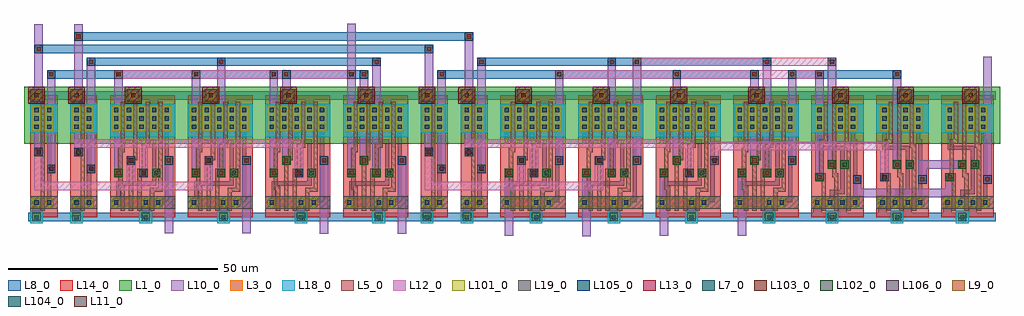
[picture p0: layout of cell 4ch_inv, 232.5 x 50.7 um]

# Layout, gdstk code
import gdstk
lib = gdstk.Library(unit=1e-6, precision=1e-07)
def R(c, l, rs):  # rectangles x0, y0, x1, y1
    for r in rs: c.add(gdstk.rectangle(r[:2], r[2:], *l))
def P(c, l, *ps):  # polygons
    for p in ps: c.add(gdstk.Polygon(p, *l))
L1_0 = (1, 0)
L3_0 = (3, 0)
L5_0 = (5, 0)
L7_0 = (7, 0)
L8_0 = (8, 0)
L9_0 = (9, 0)
L10_0 = (10, 0)
L11_0 = (11, 0)
L12_0 = (12, 0)
L13_0 = (13, 0)
L14_0 = (14, 0)
L18_0 = (18, 0)
L19_0 = (19, 0)
L101_0 = (101, 0)
L102_0 = (102, 0)
L103_0 = (103, 0)
L104_0 = (104, 0)
L105_0 = (105, 0)
L106_0 = (106, 0)

pcont = lib.new_cell('pcont')
R(pcont, L5_0, [(-1,-1,1,1)])
R(pcont, L7_0, [(-0.5,-0.5,0.5,0.5)])
R(pcont, L8_0, [(-1,-1,1,1)])
R(pcont, L102_0, [(-1,-1,1,1)])
pcont.add(gdstk.Label('pcont', (0,0), layer=13, texttype=0))

dcont = lib.new_cell('dcont')
R(dcont, L3_0, [(-1,-1,1,1)])
R(dcont, L7_0, [(-0.5,-0.5,0.5,0.5)])
R(dcont, L8_0, [(-1,-1,1,1)])
R(dcont, L13_0, [(-0.5,-0.5,0.5,0.5)])
R(dcont, L101_0, [(-1,-1,1,1)])
dcont.add(gdstk.Label('dcont', (0,0), layer=13, texttype=0))

nsubcont = lib.new_cell('nsubcont')
R(nsubcont, L1_0, [(-2,-2,2,2)])
R(nsubcont, L19_0, [(-1.5,-1.5,1.5,1.5)])
R(nsubcont, L103_0, [(-2,-2,2,2)])
nsubcont.add(gdstk.Reference(dcont, (0,0)))
nsubcont.add(gdstk.Label('NScont', (0,0), layer=13, texttype=0))

via = lib.new_cell('Via')
R(via, L8_0, [(-1,-1,1,1)])
R(via, L9_0, [(-0.5,-0.5,0.5,0.5)])
R(via, L10_0, [(-1,-1,1,1)])
R(via, L13_0, [(-0.5,-0.5,0.5,0.5)])
R(via, L105_0, [(-1,-1,1,1)])
via.add(gdstk.Label('via', (0,0), layer=13, texttype=0))

psubcont = lib.new_cell('psubcont')
R(psubcont, L18_0, [(-1.5,-1.5,1.5,1.5)])
R(psubcont, L104_0, [(-1,-1,1,1)])
psubcont.add(gdstk.Reference(dcont, (0,0)))
psubcont.add(gdstk.Label('PScon', (0,0), layer=13, texttype=0))

inv1 = lib.new_cell('inv1')
R(inv1, L1_0, [(-1.5,17.5,8,31)])
R(inv1, L3_0, [(0.5,2.5,5.5,4.5), (0.5,20.5,5.5,26.5)])
R(inv1, L8_0, [(-0.5,-1,7,1), (4,10.5,6,12.5), (1,14.5,3,16.5), (-0.5,28,7,30)])
R(inv1, L10_0, [(4,10.5,6,12.5), (1,14.5,3,16.5)])
R(inv1, L14_0, [(0,0,6.5,29)])
R(inv1, L18_0, [(0,20,6.5,27)])
R(inv1, L19_0, [(0,2,6.5,5)])
R(inv1, L105_0, [(4,10.5,6,12.5), (1,14.5,3,16.5)])
inv1.add(gdstk.FlexPath([(4.5,20.5),(4.5,3.8)], 1, ends="extended", simple_path=True, layer=8, datatype=0))  # L8_0
inv1.add(gdstk.FlexPath([(4.5,22.3),(4.5,25.5)], 1.4, ends="extended", simple_path=True, layer=8, datatype=0))  # L8_0
inv1.add(gdstk.FlexPath([(1.5,1),(1.5,3.5)], 2, ends="extended", simple_path=True, layer=8, datatype=0))  # L8_0
inv1.add(gdstk.FlexPath([(1.5,21.5),(1.5,28.5)], 2, ends="extended", simple_path=True, layer=8, datatype=0))  # L8_0
inv1.add(gdstk.FlexPath([(3,27),(3,2)], 1, ends="extended", simple_path=True, layer=5, datatype=0))  # L5_0
inv1.add(gdstk.Reference(pcont, (2,15.5)))
inv1.add(gdstk.Reference(dcont, (4.5,21.5)))
inv1.add(gdstk.Reference(dcont, (1.5,21.5)))
inv1.add(gdstk.Reference(nsubcont, (1.5,29)))
inv1.add(gdstk.Reference(via, (2,15.5)))
inv1.add(gdstk.Reference(dcont, (4.5,3.5)))
inv1.add(gdstk.Reference(dcont, (1.5,3.5)))
inv1.add(gdstk.Reference(dcont, (1.5,23.5)))
inv1.add(gdstk.Reference(psubcont, (1.5,0)))
inv1.add(gdstk.Reference(dcont, (4.5,25.5)))
inv1.add(gdstk.Reference(dcont, (1.5,25.5)))
inv1.add(gdstk.Reference(via, (5,11.5)))
inv1.add(gdstk.Reference(dcont, (4.5,23.5)))
inv1.add(gdstk.Label('VSS', (3,0), layer=8, texttype=0))
inv1.add(gdstk.Label('VDD', (0.3,28.5), layer=8, texttype=0))
inv1.add(gdstk.Label('VDD', (4,29), layer=8, texttype=0))
inv1.add(gdstk.Label('via', (5,11.5), layer=13, texttype=0))
inv1.add(gdstk.Label('via', (2,15.5), layer=13, texttype=0))
inv1.add(gdstk.Label('X', (5,11.5), layer=10, texttype=0))
inv1.add(gdstk.Label('A', (2,15.5), layer=10, texttype=0))

an31 = lib.new_cell('an31')
R(an31, L1_0, [(-1.5,17.5,17,31)])
R(an31, L3_0, [(0.5,2.5,12.5,4.5), (0.5,20.5,14.5,26.5)])
R(an31, L8_0, [(-0.5,-1,16,1), (1,9.5,3,11.5), (7,9.5,9,11.5), (4,12.5,6,14.5), (13,12.5,15,14.5), (-0.5,28,16,30)])
R(an31, L10_0, [(1,9.5,3,11.5), (7,9.5,9,11.5), (4,12.5,6,14.5), (13,12.5,15,14.5)])
R(an31, L14_0, [(0,0,15.5,29)])
R(an31, L18_0, [(0,19,15.5,27)])
R(an31, L19_0, [(0,2,15.5,5)])
R(an31, L105_0, [(1,9.5,3,11.5), (7,9.5,9,11.5), (4,12.5,6,14.5), (13,12.5,15,14.5)])
an31.add(gdstk.FlexPath([(13.5,25.5),(13.5,4),(11.5,4),(11.5,3.8)], 1, ends="extended", simple_path=True, layer=8, datatype=0))  # L8_0
an31.add(gdstk.FlexPath([(13.5,22.3),(13.5,25.5)], 1.4, ends="extended", simple_path=True, layer=8, datatype=0))  # L8_0
an31.add(gdstk.FlexPath([(10.5,22.3),(10.5,25.5)], 1.4, ends="extended", simple_path=True, layer=8, datatype=0))  # L8_0
an31.add(gdstk.FlexPath([(10.5,21.5),(10.5,28.5)], 2, ends="extended", simple_path=True, layer=8, datatype=0))  # L8_0
an31.add(gdstk.FlexPath([(8.5,0),(8.5,3.5)], 2, ends="extended", simple_path=True, layer=8, datatype=0))  # L8_0
an31.add(gdstk.FlexPath([(7.5,22.3),(7.5,25.5)], 1.4, ends="extended", simple_path=True, layer=8, datatype=0))  # L8_0
an31.add(gdstk.FlexPath([(7.5,21.5),(7.5,18)], 1, ends="extended", simple_path=True, layer=8, datatype=0))  # L8_0
an31.add(gdstk.FlexPath([(1.5,21.5),(1.5,18),(10.5,18),(10.5,8),(2,8),(2,3.8)], 1, ends="extended", simple_path=True, layer=8, datatype=0))  # L8_0
an31.add(gdstk.FlexPath([(4.5,21.5),(4.5,28.5)], 2, ends="extended", simple_path=True, layer=8, datatype=0))  # L8_0
an31.add(gdstk.FlexPath([(1.5,22.3),(1.5,25.5)], 1.4, ends="extended", simple_path=True, layer=8, datatype=0))  # L8_0
an31.add(gdstk.FlexPath([(12,27),(12,6.5),(10,6.5),(10,2)], 1, ends="extended", simple_path=True, layer=5, datatype=0))  # L5_0
an31.add(gdstk.FlexPath([(9,27),(9,17),(8,17),(8,11),(7,11),(7,2)], 1, ends="extended", simple_path=True, layer=5, datatype=0))  # L5_0
an31.add(gdstk.FlexPath([(6,27),(6,14),(5,14),(5,2)], 1, ends="extended", simple_path=True, layer=5, datatype=0))  # L5_0
an31.add(gdstk.FlexPath([(3,27),(3,16),(2.5,16),(2.5,7),(3,7),(3,2)], 1, ends="extended", simple_path=True, layer=5, datatype=0))  # L5_0
an31.add(gdstk.Reference(dcont, (10.5,21.5)))
an31.add(gdstk.Reference(dcont, (10.5,25.5)))
an31.add(gdstk.Reference(dcont, (7.5,25.5)))
an31.add(gdstk.Reference(dcont, (11.5,3.5)))
an31.add(gdstk.Reference(nsubcont, (5.5,29)))
an31.add(gdstk.Reference(dcont, (13.5,25.5)))
an31.add(gdstk.Reference(dcont, (1.5,25.5)))
an31.add(gdstk.Reference(dcont, (8.5,3.5)))
an31.add(gdstk.Reference(via, (5,13.5)))
an31.add(gdstk.Reference(dcont, (1.5,21.5)))
an31.add(gdstk.Reference(via, (2,10.5)))
an31.add(gdstk.Reference(dcont, (7.5,21.5)))
an31.add(gdstk.Reference(dcont, (13.5,23.5)))
an31.add(gdstk.Reference(dcont, (4.5,23.5)))
an31.add(gdstk.Reference(pcont, (2,10.5)))
an31.add(gdstk.Reference(dcont, (1.5,3.5)))
an31.add(gdstk.Reference(via, (14,13.5)))
an31.add(gdstk.Reference(dcont, (13.5,21.5)))
an31.add(gdstk.Reference(dcont, (10.5,23.5)))
an31.add(gdstk.Reference(psubcont, (8.5,0)))
an31.add(gdstk.Reference(pcont, (8,10.5)))
an31.add(gdstk.Reference(dcont, (7.5,23.5)))
an31.add(gdstk.Reference(dcont, (4.5,21.5)))
an31.add(gdstk.Reference(via, (8,10.5)))
an31.add(gdstk.Reference(pcont, (11,10.5)))
an31.add(gdstk.Reference(pcont, (5,13.5)))
an31.add(gdstk.Reference(dcont, (1.5,23.5)))
an31.add(gdstk.Reference(dcont, (4.5,25.5)))
an31.add(gdstk.Label('VDD', (0.5,29), layer=8, texttype=0))
an31.add(gdstk.Label('VSS', (0.5,0), layer=8, texttype=0))
an31.add(gdstk.Label('via', (14,13), layer=13, texttype=0))
an31.add(gdstk.Label('via', (5,13), layer=13, texttype=0))
an31.add(gdstk.Label('via', (2,10), layer=13, texttype=0))
an31.add(gdstk.Label('via', (8,10), layer=13, texttype=0))
an31.add(gdstk.Label('Y', (14,13.5), layer=10, texttype=0))
an31.add(gdstk.Label('C', (8,10.5), layer=10, texttype=0))
an31.add(gdstk.Label('B', (5,13.5), layer=10, texttype=0))
an31.add(gdstk.Label('A', (2,10.5), layer=10, texttype=0))

via2 = lib.new_cell('Via2')
R(via2, L10_0, [(-1,-1,1,1)])
R(via2, L11_0, [(-0.5,-0.5,0.5,0.5)])
P(via2, L11_0, [(-1,0),(-1,0),(-1,0),(-1,0)],
  [(1,1),(1,1),(1,1),(1,1)])
R(via2, L12_0, [(-1,-1,1,1)])
R(via2, L13_0, [(-0.5,-0.5,0.5,0.5)])
R(via2, L106_0, [(-1,-1,1,1)])

via_1 = lib.new_cell('Via$1')
R(via_1, L8_0, [(-1,-1,1,1)])
R(via_1, L9_0, [(-0.5,-0.5,0.5,0.5)])
R(via_1, L10_0, [(-1,-1,1,1)])
R(via_1, L13_0, [(-0.5,-0.5,0.5,0.5)])
R(via_1, L105_0, [(-1,-1,1,1)])

c_4ch_demux = lib.new_cell('4ch_demux')
R(c_4ch_demux, L8_0, [(-0.5,-1,90.5,1), (-0.5,28,90.5,30)])
c_4ch_demux.add(gdstk.FlexPath([(4,34),(80.5,34)], 2, ends="flush", simple_path=True, layer=8, datatype=0))  # L8_0
c_4ch_demux.add(gdstk.FlexPath([(13.5,37),(83.5,37)], 2, ends="flush", simple_path=True, layer=8, datatype=0))  # L8_0
c_4ch_demux.add(gdstk.FlexPath([(2,15.5),(2,46)], 2, ends="flush", simple_path=True, layer=10, datatype=0))  # L10_0
c_4ch_demux.add(gdstk.FlexPath([(11.5,14.5),(11.5,46)], 2, ends="flush", simple_path=True, layer=10, datatype=0))  # L10_0
c_4ch_demux.add(gdstk.FlexPath([(76.5,33),(76.5,46.1)], 2, ends="flush", simple_path=True, layer=10, datatype=0))  # L10_0
c_4ch_demux.add(gdstk.FlexPath([(21,9.5),(21,35)], 2, ends="flush", simple_path=True, layer=10, datatype=0))  # L10_0
c_4ch_demux.add(gdstk.FlexPath([(39.5,9.5),(39.5,35)], 2, ends="flush", simple_path=True, layer=10, datatype=0))  # L10_0
c_4ch_demux.add(gdstk.FlexPath([(58,9.5),(58,35)], 2, ends="flush", simple_path=True, layer=10, datatype=0))  # L10_0
c_4ch_demux.add(gdstk.FlexPath([(76.5,9.5),(76.5,35)], 2, ends="flush", simple_path=True, layer=10, datatype=0))  # L10_0
c_4ch_demux.add(gdstk.FlexPath([(33,14.5),(33,-3.9)], 2, ends="flush", simple_path=True, layer=10, datatype=0))  # L10_0
c_4ch_demux.add(gdstk.FlexPath([(51.5,14.5),(51.5,-3.9)], 2, ends="flush", simple_path=True, layer=10, datatype=0))  # L10_0
c_4ch_demux.add(gdstk.FlexPath([(70,14.5),(70,-4)], 2, ends="flush", simple_path=True, layer=10, datatype=0))  # L10_0
c_4ch_demux.add(gdstk.FlexPath([(88.5,14.5),(88.5,-4)], 2, ends="flush", simple_path=True, layer=10, datatype=0))  # L10_0
c_4ch_demux.add(gdstk.FlexPath([(45.5,9.5),(45.5,38)], 2, ends="flush", simple_path=True, layer=10, datatype=0))  # L10_0
c_4ch_demux.add(gdstk.FlexPath([(5,10.5),(5,35)], 2, ends="flush", simple_path=True, layer=10, datatype=0))  # L10_0
c_4ch_demux.add(gdstk.FlexPath([(14.5,10.5),(14.5,38)], 2, ends="flush", simple_path=True, layer=10, datatype=0))  # L10_0
c_4ch_demux.add(gdstk.FlexPath([(61,12.5),(61,35)], 2, ends="flush", simple_path=True, layer=10, datatype=0))  # L10_0
c_4ch_demux.add(gdstk.FlexPath([(79.5,12.5),(79.5,35)], 2, ends="flush", simple_path=True, layer=10, datatype=0))  # L10_0
c_4ch_demux.add(gdstk.FlexPath([(82.5,9.5),(82.5,38)], 2, ends="flush", simple_path=True, layer=10, datatype=0))  # L10_0
c_4ch_demux.add(gdstk.FlexPath([(77.5,34),(20,34)], 2, ends="flush", simple_path=True, layer=12, datatype=0))  # L12_0
c_4ch_demux.add(gdstk.FlexPath([(2,16.5),(2,7.4),(42.5,7.4),(42.5,14.5)], 2, ends="flush", simple_path=True, layer=12, datatype=0))  # L12_0
c_4ch_demux.add(gdstk.FlexPath([(24,14.5),(24,6.4)], 2, ends="flush", simple_path=True, layer=12, datatype=0))  # L12_0
c_4ch_demux.add(gdstk.FlexPath([(11.5,14.5),(11.5,17.5),(27,17.5),(27,9.5)], 2, ends="flush", simple_path=True, layer=12, datatype=0))  # L12_0
c_4ch_demux.add(gdstk.FlexPath([(27,17.5),(64,17.5),(64,9.5)], 2, ends="flush", simple_path=True, layer=12, datatype=0))  # L12_0
c_4ch_demux.add(gdstk.Reference(inv1, (0,0)))
c_4ch_demux.add(gdstk.Reference(inv1, (9.5,0)))
c_4ch_demux.add(gdstk.Reference(an31, (19,0)))
c_4ch_demux.add(gdstk.Reference(an31, (74.5,0)))
c_4ch_demux.add(gdstk.Reference(an31, (56,0)))
c_4ch_demux.add(gdstk.Reference(an31, (37.5,0)))
c_4ch_demux.add(gdstk.Reference(via2, (21,34)))
c_4ch_demux.add(gdstk.Reference(via2, (39.5,34)))
c_4ch_demux.add(gdstk.Reference(via2, (58,34)))
c_4ch_demux.add(gdstk.Reference(via2, (2,15.5)))
c_4ch_demux.add(gdstk.Reference(via2, (24,13.5)))
c_4ch_demux.add(gdstk.Reference(via2, (42.5,13.5)))
c_4ch_demux.add(gdstk.Reference(via2, (5,11.5)))
c_4ch_demux.add(gdstk.Reference(via2, (14.5,11.5)))
c_4ch_demux.add(gdstk.Reference(via2, (11.5,15.5)))
c_4ch_demux.add(gdstk.Reference(via2, (27,10.5)))
c_4ch_demux.add(gdstk.Reference(via2, (64,10.5)))
c_4ch_demux.add(gdstk.Reference(via_1, (5,34)))
c_4ch_demux.add(gdstk.Reference(via_1, (61,34)))
c_4ch_demux.add(gdstk.Reference(via_1, (79.5,34)))
c_4ch_demux.add(gdstk.Reference(via_1, (14.5,37)))
c_4ch_demux.add(gdstk.Reference(via_1, (45.5,37)))
c_4ch_demux.add(gdstk.Reference(via_1, (82.5,37)))
c_4ch_demux.add(gdstk.Reference(via2, (76.5,34)))
c_4ch_demux.add(gdstk.Label('Y', (76.2,39.3), layer=10, texttype=0))
c_4ch_demux.add(gdstk.Label('O0', (88.2,-3.6), layer=10, texttype=0))
c_4ch_demux.add(gdstk.Label('O1', (69.6,-3.6), layer=10, texttype=0))
c_4ch_demux.add(gdstk.Label('O2', (51.2,-3.5), layer=10, texttype=0))
c_4ch_demux.add(gdstk.Label('O3', (32.7,-3.6), layer=10, texttype=0))
c_4ch_demux.add(gdstk.Label('S0', (1.6,38.6), layer=10, texttype=0))
c_4ch_demux.add(gdstk.Label('S1', (10.9,38.7), layer=10, texttype=0))

pcont_1 = lib.new_cell('pcont$1')
R(pcont_1, L5_0, [(-1,-1,1,1)])
R(pcont_1, L7_0, [(-0.5,-0.5,0.5,0.5)])
R(pcont_1, L8_0, [(-1,-1,1,1)])
R(pcont_1, L102_0, [(-1,-1,1,1)])
pcont_1.add(gdstk.Label('pcont', (0,0), layer=13, texttype=0))

dcont_1 = lib.new_cell('dcont$1')
R(dcont_1, L3_0, [(-1,-1,1,1)])
R(dcont_1, L7_0, [(-0.5,-0.5,0.5,0.5)])
R(dcont_1, L8_0, [(-1,-1,1,1)])
R(dcont_1, L13_0, [(-0.5,-0.5,0.5,0.5)])
R(dcont_1, L101_0, [(-1,-1,1,1)])
dcont_1.add(gdstk.Label('dcont', (0,0), layer=13, texttype=0))

nsubcont_1 = lib.new_cell('nsubcont$1')
R(nsubcont_1, L1_0, [(-2,-2,2,2)])
R(nsubcont_1, L19_0, [(-1.5,-1.5,1.5,1.5)])
R(nsubcont_1, L103_0, [(-2,-2,2,2)])
nsubcont_1.add(gdstk.Reference(dcont_1, (0,0)))
nsubcont_1.add(gdstk.Label('NScont', (0,0), layer=13, texttype=0))

via_2 = lib.new_cell('Via$2')
R(via_2, L8_0, [(-1,-1,1,1)])
R(via_2, L9_0, [(-0.5,-0.5,0.5,0.5)])
R(via_2, L10_0, [(-1,-1,1,1)])
R(via_2, L13_0, [(-0.5,-0.5,0.5,0.5)])
R(via_2, L105_0, [(-1,-1,1,1)])
via_2.add(gdstk.Label('via', (0,0), layer=13, texttype=0))

psubcont_1 = lib.new_cell('psubcont$1')
R(psubcont_1, L18_0, [(-1.5,-1.5,1.5,1.5)])
R(psubcont_1, L104_0, [(-1,-1,1,1)])
psubcont_1.add(gdstk.Reference(dcont_1, (0,0)))
psubcont_1.add(gdstk.Label('PScon', (0,0), layer=13, texttype=0))

inv1_1 = lib.new_cell('inv1$1')
R(inv1_1, L1_0, [(-1.5,17.5,8,31)])
R(inv1_1, L3_0, [(0.5,2.5,5.5,4.5), (0.5,20.5,5.5,26.5)])
R(inv1_1, L8_0, [(-0.5,-1,7,1), (4,10.5,6,12.5), (1,14.5,3,16.5), (-0.5,28,7,30)])
R(inv1_1, L10_0, [(4,10.5,6,12.5), (1,14.5,3,16.5)])
R(inv1_1, L14_0, [(0,0,6.5,29)])
R(inv1_1, L18_0, [(0,20,6.5,27)])
R(inv1_1, L19_0, [(0,2,6.5,5)])
R(inv1_1, L105_0, [(4,10.5,6,12.5), (1,14.5,3,16.5)])
inv1_1.add(gdstk.FlexPath([(4.5,20.5),(4.5,3.8)], 1, ends="extended", simple_path=True, layer=8, datatype=0))  # L8_0
inv1_1.add(gdstk.FlexPath([(4.5,22.3),(4.5,25.5)], 1.4, ends="extended", simple_path=True, layer=8, datatype=0))  # L8_0
inv1_1.add(gdstk.FlexPath([(1.5,1),(1.5,3.5)], 2, ends="extended", simple_path=True, layer=8, datatype=0))  # L8_0
inv1_1.add(gdstk.FlexPath([(1.5,21.5),(1.5,28.5)], 2, ends="extended", simple_path=True, layer=8, datatype=0))  # L8_0
inv1_1.add(gdstk.FlexPath([(3,27),(3,2)], 1, ends="extended", simple_path=True, layer=5, datatype=0))  # L5_0
inv1_1.add(gdstk.Reference(pcont_1, (2,15.5)))
inv1_1.add(gdstk.Reference(dcont_1, (4.5,21.5)))
inv1_1.add(gdstk.Reference(dcont_1, (1.5,21.5)))
inv1_1.add(gdstk.Reference(nsubcont_1, (1.5,29)))
inv1_1.add(gdstk.Reference(via_2, (2,15.5)))
inv1_1.add(gdstk.Reference(dcont_1, (4.5,3.5)))
inv1_1.add(gdstk.Reference(dcont_1, (1.5,3.5)))
inv1_1.add(gdstk.Reference(dcont_1, (1.5,23.5)))
inv1_1.add(gdstk.Reference(psubcont_1, (1.5,0)))
inv1_1.add(gdstk.Reference(dcont_1, (4.5,25.5)))
inv1_1.add(gdstk.Reference(dcont_1, (1.5,25.5)))
inv1_1.add(gdstk.Reference(via_2, (5,11.5)))
inv1_1.add(gdstk.Reference(dcont_1, (4.5,23.5)))
inv1_1.add(gdstk.Label('VSS', (3,0), layer=8, texttype=0))
inv1_1.add(gdstk.Label('VDD', (0.3,28.5), layer=8, texttype=0))
inv1_1.add(gdstk.Label('VDD', (4,29), layer=8, texttype=0))
inv1_1.add(gdstk.Label('via', (5,11.5), layer=13, texttype=0))
inv1_1.add(gdstk.Label('via', (2,15.5), layer=13, texttype=0))
inv1_1.add(gdstk.Label('X', (5,11.5), layer=10, texttype=0))
inv1_1.add(gdstk.Label('A', (2,15.5), layer=10, texttype=0))

an31_1 = lib.new_cell('an31$1')
R(an31_1, L1_0, [(-1.5,17.5,17,31)])
R(an31_1, L3_0, [(0.5,2.5,12.5,4.5), (0.5,20.5,14.5,26.5)])
R(an31_1, L8_0, [(-0.5,-1,16,1), (1,9.5,3,11.5), (7,9.5,9,11.5), (4,12.5,6,14.5), (13,12.5,15,14.5), (-0.5,28,16,30)])
R(an31_1, L10_0, [(1,9.5,3,11.5), (7,9.5,9,11.5), (4,12.5,6,14.5), (13,12.5,15,14.5)])
R(an31_1, L14_0, [(0,0,15.5,29)])
R(an31_1, L18_0, [(0,19,15.5,27)])
R(an31_1, L19_0, [(0,2,15.5,5)])
R(an31_1, L105_0, [(1,9.5,3,11.5), (7,9.5,9,11.5), (4,12.5,6,14.5), (13,12.5,15,14.5)])
an31_1.add(gdstk.FlexPath([(13.5,25.5),(13.5,4),(11.5,4),(11.5,3.8)], 1, ends="extended", simple_path=True, layer=8, datatype=0))  # L8_0
an31_1.add(gdstk.FlexPath([(13.5,22.3),(13.5,25.5)], 1.4, ends="extended", simple_path=True, layer=8, datatype=0))  # L8_0
an31_1.add(gdstk.FlexPath([(10.5,22.3),(10.5,25.5)], 1.4, ends="extended", simple_path=True, layer=8, datatype=0))  # L8_0
an31_1.add(gdstk.FlexPath([(10.5,21.5),(10.5,28.5)], 2, ends="extended", simple_path=True, layer=8, datatype=0))  # L8_0
an31_1.add(gdstk.FlexPath([(8.5,0),(8.5,3.5)], 2, ends="extended", simple_path=True, layer=8, datatype=0))  # L8_0
an31_1.add(gdstk.FlexPath([(7.5,22.3),(7.5,25.5)], 1.4, ends="extended", simple_path=True, layer=8, datatype=0))  # L8_0
an31_1.add(gdstk.FlexPath([(7.5,21.5),(7.5,18)], 1, ends="extended", simple_path=True, layer=8, datatype=0))  # L8_0
an31_1.add(gdstk.FlexPath([(1.5,21.5),(1.5,18),(10.5,18),(10.5,8),(2,8),(2,3.8)], 1, ends="extended", simple_path=True, layer=8, datatype=0))  # L8_0
an31_1.add(gdstk.FlexPath([(4.5,21.5),(4.5,28.5)], 2, ends="extended", simple_path=True, layer=8, datatype=0))  # L8_0
an31_1.add(gdstk.FlexPath([(1.5,22.3),(1.5,25.5)], 1.4, ends="extended", simple_path=True, layer=8, datatype=0))  # L8_0
an31_1.add(gdstk.FlexPath([(12,27),(12,6.5),(10,6.5),(10,2)], 1, ends="extended", simple_path=True, layer=5, datatype=0))  # L5_0
an31_1.add(gdstk.FlexPath([(9,27),(9,17),(8,17),(8,11),(7,11),(7,2)], 1, ends="extended", simple_path=True, layer=5, datatype=0))  # L5_0
an31_1.add(gdstk.FlexPath([(6,27),(6,14),(5,14),(5,2)], 1, ends="extended", simple_path=True, layer=5, datatype=0))  # L5_0
an31_1.add(gdstk.FlexPath([(3,27),(3,16),(2.5,16),(2.5,7),(3,7),(3,2)], 1, ends="extended", simple_path=True, layer=5, datatype=0))  # L5_0
an31_1.add(gdstk.Reference(dcont_1, (10.5,21.5)))
an31_1.add(gdstk.Reference(dcont_1, (10.5,25.5)))
an31_1.add(gdstk.Reference(dcont_1, (7.5,25.5)))
an31_1.add(gdstk.Reference(dcont_1, (11.5,3.5)))
an31_1.add(gdstk.Reference(nsubcont_1, (5.5,29)))
an31_1.add(gdstk.Reference(dcont_1, (13.5,25.5)))
an31_1.add(gdstk.Reference(dcont_1, (1.5,25.5)))
an31_1.add(gdstk.Reference(dcont_1, (8.5,3.5)))
an31_1.add(gdstk.Reference(via_2, (5,13.5)))
an31_1.add(gdstk.Reference(dcont_1, (1.5,21.5)))
an31_1.add(gdstk.Reference(via_2, (2,10.5)))
an31_1.add(gdstk.Reference(dcont_1, (7.5,21.5)))
an31_1.add(gdstk.Reference(dcont_1, (13.5,23.5)))
an31_1.add(gdstk.Reference(dcont_1, (4.5,23.5)))
an31_1.add(gdstk.Reference(pcont_1, (2,10.5)))
an31_1.add(gdstk.Reference(dcont_1, (1.5,3.5)))
an31_1.add(gdstk.Reference(via_2, (14,13.5)))
an31_1.add(gdstk.Reference(dcont_1, (13.5,21.5)))
an31_1.add(gdstk.Reference(dcont_1, (10.5,23.5)))
an31_1.add(gdstk.Reference(psubcont_1, (8.5,0)))
an31_1.add(gdstk.Reference(pcont_1, (8,10.5)))
an31_1.add(gdstk.Reference(dcont_1, (7.5,23.5)))
an31_1.add(gdstk.Reference(dcont_1, (4.5,21.5)))
an31_1.add(gdstk.Reference(via_2, (8,10.5)))
an31_1.add(gdstk.Reference(pcont_1, (11,10.5)))
an31_1.add(gdstk.Reference(pcont_1, (5,13.5)))
an31_1.add(gdstk.Reference(dcont_1, (1.5,23.5)))
an31_1.add(gdstk.Reference(dcont_1, (4.5,25.5)))
an31_1.add(gdstk.Label('VDD', (0.5,29), layer=8, texttype=0))
an31_1.add(gdstk.Label('VSS', (0.5,0), layer=8, texttype=0))
an31_1.add(gdstk.Label('via', (14,13), layer=13, texttype=0))
an31_1.add(gdstk.Label('via', (5,13), layer=13, texttype=0))
an31_1.add(gdstk.Label('via', (2,10), layer=13, texttype=0))
an31_1.add(gdstk.Label('via', (8,10), layer=13, texttype=0))
an31_1.add(gdstk.Label('Y', (14,13.5), layer=10, texttype=0))
an31_1.add(gdstk.Label('C', (8,10.5), layer=10, texttype=0))
an31_1.add(gdstk.Label('B', (5,13.5), layer=10, texttype=0))
an31_1.add(gdstk.Label('A', (2,10.5), layer=10, texttype=0))

or21 = lib.new_cell('or21')
R(or21, L1_0, [(-1.5,17.5,14,31)])
R(or21, L3_0, [(0.5,2.5,11.5,4.5), (6.5,2.5,11.5,4.5), (1,20.5,11,26.5)])
R(or21, L8_0, [(-0.5,-1,13,1), (10,8,12,10), (1,8.5,3,10.5), (4,11.5,6,13.5), (-0.5,28,13,30)])
R(or21, L10_0, [(10,8,12,10), (1,8.5,3,10.5), (4,11.5,6,13.5)])
R(or21, L14_0, [(0,0,12.5,29)])
R(or21, L18_0, [(0,20,12.5,27)])
R(or21, L19_0, [(0,2,12.5,5)])
R(or21, L105_0, [(10,8,12,10), (1,8.5,3,10.5), (4,11.5,6,13.5)])
or21.add(gdstk.FlexPath([(10.5,3.5),(10.5,18),(10,18),(10,20.5)], 1, ends="extended", simple_path=True, layer=8, datatype=0))  # L8_0
or21.add(gdstk.FlexPath([(10,22.3),(10,25.5)], 1.4, ends="extended", simple_path=True, layer=8, datatype=0))  # L8_0
or21.add(gdstk.FlexPath([(7.5,1),(7.5,3.5)], 2, ends="extended", simple_path=True, layer=8, datatype=0))  # L8_0
or21.add(gdstk.FlexPath([(7,21.5),(7,28.5)], 2, ends="extended", simple_path=True, layer=8, datatype=0))  # L8_0
or21.add(gdstk.FlexPath([(5,3.5),(5,6),(7.5,6),(7.5,16.5),(2,16.5),(2,20.5)], 1, ends="extended", simple_path=True, layer=8, datatype=0))  # L8_0
or21.add(gdstk.FlexPath([(2,22.3),(2,25.5)], 1.4, ends="extended", simple_path=True, layer=8, datatype=0))  # L8_0
or21.add(gdstk.FlexPath([(1.5,1),(1.5,3.5)], 2, ends="extended", simple_path=True, layer=8, datatype=0))  # L8_0
or21.add(gdstk.FlexPath([(9,2),(9,17),(8.5,17),(8.5,27)], 1, ends="extended", simple_path=True, layer=5, datatype=0))  # L5_0
or21.add(gdstk.FlexPath([(3.5,27),(3.5,18),(2.5,18),(2.5,10),(3,10),(3,2)], 1, ends="extended", simple_path=True, layer=5, datatype=0))  # L5_0
or21.add(gdstk.FlexPath([(5.5,27),(5.5,10),(6,10),(6,2)], 1, ends="extended", simple_path=True, layer=5, datatype=0))  # L5_0
or21.add(gdstk.Reference(nsubcont_1, (7,29)))
or21.add(gdstk.Reference(dcont_1, (10,25.5)))
or21.add(gdstk.Reference(dcont_1, (7,25.5)))
or21.add(gdstk.Reference(pcont_1, (5,12.5)))
or21.add(gdstk.Reference(via_2, (5,12.5)))
or21.add(gdstk.Reference(psubcont_1, (5,0)))
or21.add(gdstk.Reference(dcont_1, (2,25.5)))
or21.add(gdstk.Reference(dcont_1, (10,21.5)))
or21.add(gdstk.Reference(dcont_1, (2,23.5)))
or21.add(gdstk.Reference(dcont_1, (10,23.5)))
or21.add(gdstk.Reference(pcont_1, (2,9.5)))
or21.add(gdstk.Reference(dcont_1, (4.5,3.5)))
or21.add(gdstk.Reference(dcont_1, (2,21.5)))
or21.add(gdstk.Reference(pcont_1, (8,12.5)))
or21.add(gdstk.Reference(dcont_1, (10.5,3.5)))
or21.add(gdstk.Reference(via_2, (2,9.5)))
or21.add(gdstk.Reference(dcont_1, (7.5,3.5)))
or21.add(gdstk.Reference(dcont_1, (7,21.5)))
or21.add(gdstk.Reference(via_2, (11,9)))
or21.add(gdstk.Reference(dcont_1, (1.5,3.5)))
or21.add(gdstk.Reference(dcont_1, (7,23.5)))
or21.add(gdstk.Label('VSS', (0.5,0), layer=8, texttype=0))
or21.add(gdstk.Label('VDD', (0.5,29), layer=8, texttype=0))
or21.add(gdstk.Label('via', (2,9.5), layer=13, texttype=0))
or21.add(gdstk.Label('via', (5,12.5), layer=13, texttype=0))
or21.add(gdstk.Label('via', (11,9), layer=13, texttype=0))
or21.add(gdstk.Label('A', (2,9.5), layer=10, texttype=0))
or21.add(gdstk.Label('B', (5,12.5), layer=10, texttype=0))
or21.add(gdstk.Label('X', (11,9), layer=10, texttype=0))

via2_1 = lib.new_cell('Via2$1')
R(via2_1, L10_0, [(-1,-1,1,1)])
R(via2_1, L11_0, [(-0.5,-0.5,0.5,0.5)])
P(via2_1, L11_0, [(-1,0),(-1,0),(-1,0),(-1,0)],
  [(1,1),(1,1),(1,1),(1,1)])
R(via2_1, L12_0, [(-1,-1,1,1)])
R(via2_1, L13_0, [(-0.5,-0.5,0.5,0.5)])
R(via2_1, L106_0, [(-1,-1,1,1)])

via_1_1 = lib.new_cell('Via$1$1')
R(via_1_1, L8_0, [(-1,-1,1,1)])
R(via_1_1, L9_0, [(-0.5,-0.5,0.5,0.5)])
R(via_1_1, L10_0, [(-1,-1,1,1)])
R(via_1_1, L13_0, [(-0.5,-0.5,0.5,0.5)])
R(via_1_1, L105_0, [(-1,-1,1,1)])

c_4ch_mux = lib.new_cell('4ch_mux')
R(c_4ch_mux, L8_0, [(-0.5,-1,137,1), (-0.5,28,137,30)])
c_4ch_mux.add(gdstk.FlexPath([(4,34),(80.5,34)], 2, ends="flush", simple_path=True, layer=8, datatype=0))  # L8_0
c_4ch_mux.add(gdstk.FlexPath([(13.5,37),(83.5,37)], 2, ends="flush", simple_path=True, layer=8, datatype=0))  # L8_0
c_4ch_mux.add(gdstk.FlexPath([(87.5,34),(114.5,34)], 2, ends="flush", simple_path=True, layer=8, datatype=0))  # L8_0
c_4ch_mux.add(gdstk.FlexPath([(2,14.5),(2,41)], 2, ends="flush", simple_path=True, layer=10, datatype=0))  # L10_0
c_4ch_mux.add(gdstk.FlexPath([(11.5,14.5),(11.5,44)], 2, ends="flush", simple_path=True, layer=10, datatype=0))  # L10_0
c_4ch_mux.add(gdstk.FlexPath([(130,12.5),(119.5,12.5),(119.5,8)], 2, ends="flush", simple_path=True, layer=10, datatype=0))  # L10_0
c_4ch_mux.add(gdstk.FlexPath([(126,10.5),(126,5.7),(104,5.7),(104,10)], 2, ends="flush", simple_path=True, layer=10, datatype=0))  # L10_0
c_4ch_mux.add(gdstk.FlexPath([(21,11.5),(21,-4.4)], 2, ends="flush", simple_path=True, layer=10, datatype=0))  # L10_0
c_4ch_mux.add(gdstk.FlexPath([(39.5,11.5),(39.5,-4.6)], 2, ends="flush", simple_path=True, layer=10, datatype=0))  # L10_0
c_4ch_mux.add(gdstk.FlexPath([(58,11.5),(58,-4.4)], 2, ends="flush", simple_path=True, layer=10, datatype=0))  # L10_0
c_4ch_mux.add(gdstk.FlexPath([(76.5,11.5),(76.5,-4.4)], 2, ends="flush", simple_path=True, layer=10, datatype=0))  # L10_0
c_4ch_mux.add(gdstk.FlexPath([(5,10.5),(5,35)], 2, ends="flush", simple_path=True, layer=10, datatype=0))  # L10_0
c_4ch_mux.add(gdstk.FlexPath([(14.5,10.5),(14.5,38)], 2, ends="flush", simple_path=True, layer=10, datatype=0))  # L10_0
c_4ch_mux.add(gdstk.FlexPath([(33,12.5),(33,35)], 2, ends="flush", simple_path=True, layer=10, datatype=0))  # L10_0
c_4ch_mux.add(gdstk.FlexPath([(45.5,9.5),(45.5,38)], 2, ends="flush", simple_path=True, layer=10, datatype=0))  # L10_0
c_4ch_mux.add(gdstk.FlexPath([(51.5,12.5),(51.5,38)], 2, ends="flush", simple_path=True, layer=10, datatype=0))  # L10_0
c_4ch_mux.add(gdstk.FlexPath([(61,12.5),(61,35)], 2, ends="flush", simple_path=True, layer=10, datatype=0))  # L10_0
c_4ch_mux.add(gdstk.FlexPath([(79.5,12.5),(79.5,35)], 2, ends="flush", simple_path=True, layer=10, datatype=0))  # L10_0
c_4ch_mux.add(gdstk.FlexPath([(82.5,9.5),(82.5,38)], 2, ends="flush", simple_path=True, layer=10, datatype=0))  # L10_0
c_4ch_mux.add(gdstk.FlexPath([(88.5,12.5),(88.5,35)], 2, ends="flush", simple_path=True, layer=10, datatype=0))  # L10_0
c_4ch_mux.add(gdstk.FlexPath([(135,8),(135,38.2)], 2, ends="flush", simple_path=True, layer=10, datatype=0))  # L10_0
c_4ch_mux.add(gdstk.FlexPath([(95,8.5),(95,35)], 2, ends="flush", simple_path=True, layer=10, datatype=0))  # L10_0
c_4ch_mux.add(gdstk.FlexPath([(98,11.5),(98,38)], 2, ends="flush", simple_path=True, layer=10, datatype=0))  # L10_0
c_4ch_mux.add(gdstk.FlexPath([(113.5,11.5),(113.5,35)], 2, ends="flush", simple_path=True, layer=10, datatype=0))  # L10_0
c_4ch_mux.add(gdstk.FlexPath([(2,16.5),(2,7.4),(42.5,7.4),(42.5,14.5)], 2, ends="flush", simple_path=True, layer=12, datatype=0))  # L12_0
c_4ch_mux.add(gdstk.FlexPath([(24,14.5),(24,6.4)], 2, ends="flush", simple_path=True, layer=12, datatype=0))  # L12_0
c_4ch_mux.add(gdstk.FlexPath([(11.5,14.5),(11.5,17.5),(27,17.5),(27,9.5)], 2, ends="flush", simple_path=True, layer=12, datatype=0))  # L12_0
c_4ch_mux.add(gdstk.FlexPath([(27,17.5),(64,17.5),(64,9.5)], 2, ends="flush", simple_path=True, layer=12, datatype=0))  # L12_0
c_4ch_mux.add(gdstk.FlexPath([(110.5,8.5),(110.5,16.9),(70,16.9),(70,12.5)], 2, ends="flush", simple_path=True, layer=12, datatype=0))  # L12_0
c_4ch_mux.add(gdstk.FlexPath([(50.5,37),(99,37)], 2, ends="flush", simple_path=True, layer=12, datatype=0))  # L12_0
c_4ch_mux.add(gdstk.FlexPath([(96,34),(32,34)], 2, ends="flush", simple_path=True, layer=12, datatype=0))  # L12_0
c_4ch_mux.add(gdstk.Reference(inv1_1, (0,0)))
c_4ch_mux.add(gdstk.Reference(inv1_1, (9.5,0)))
c_4ch_mux.add(gdstk.Reference(an31_1, (19,0)))
c_4ch_mux.add(gdstk.Reference(an31_1, (74.5,0)))
c_4ch_mux.add(gdstk.Reference(an31_1, (56,0)))
c_4ch_mux.add(gdstk.Reference(an31_1, (37.5,0)))
c_4ch_mux.add(gdstk.Reference(or21, (93,0)))
c_4ch_mux.add(gdstk.Reference(or21, (108.5,0)))
c_4ch_mux.add(gdstk.Reference(or21, (124,0)))
c_4ch_mux.add(gdstk.Reference(via2_1, (2,15.5)))
c_4ch_mux.add(gdstk.Reference(via2_1, (24,13.5)))
c_4ch_mux.add(gdstk.Reference(via2_1, (42.5,13.5)))
c_4ch_mux.add(gdstk.Reference(via2_1, (5,11.5)))
c_4ch_mux.add(gdstk.Reference(via2_1, (14.5,11.5)))
c_4ch_mux.add(gdstk.Reference(via2_1, (11.5,15.5)))
c_4ch_mux.add(gdstk.Reference(via2_1, (27,10.5)))
c_4ch_mux.add(gdstk.Reference(via2_1, (64,10.5)))
c_4ch_mux.add(gdstk.Reference(via_1_1, (5,34)))
c_4ch_mux.add(gdstk.Reference(via_1_1, (61,34)))
c_4ch_mux.add(gdstk.Reference(via_1_1, (79.5,34)))
c_4ch_mux.add(gdstk.Reference(via_1_1, (14.5,37)))
c_4ch_mux.add(gdstk.Reference(via_1_1, (45.5,37)))
c_4ch_mux.add(gdstk.Reference(via_1_1, (82.5,37)))
c_4ch_mux.add(gdstk.Reference(via_1_1, (88.5,34)))
c_4ch_mux.add(gdstk.Reference(via_1_1, (113.5,34)))
c_4ch_mux.add(gdstk.Reference(via2_1, (70,13.5)))
c_4ch_mux.add(gdstk.Reference(via2_1, (110.5,9.5)))
c_4ch_mux.add(gdstk.Reference(via2_1, (33,34)))
c_4ch_mux.add(gdstk.Reference(via2_1, (51.5,37)))
c_4ch_mux.add(gdstk.Reference(via2_1, (95,34)))
c_4ch_mux.add(gdstk.Reference(via2_1, (98,37)))
c_4ch_mux.add(gdstk.Label('S0', (1.6,38.6), layer=10, texttype=0))
c_4ch_mux.add(gdstk.Label('S1', (10.9,38.7), layer=10, texttype=0))
c_4ch_mux.add(gdstk.Label('I3', (20.7,-3.5), layer=10, texttype=0))
c_4ch_mux.add(gdstk.Label('I2', (39.1,-3.5), layer=10, texttype=0))
c_4ch_mux.add(gdstk.Label('I1', (57.6,-3.8), layer=10, texttype=0))
c_4ch_mux.add(gdstk.Label('I0', (76,-3.5), layer=10, texttype=0))
c_4ch_mux.add(gdstk.Label('Y', (134.8,37.3), layer=10, texttype=0))

via_3 = lib.new_cell('Via$3')
R(via_3, L8_0, [(-1,-1,1,1)])
R(via_3, L9_0, [(-0.5,-0.5,0.5,0.5)])
R(via_3, L10_0, [(-1,-1,1,1)])
R(via_3, L13_0, [(-0.5,-0.5,0.5,0.5)])
R(via_3, L105_0, [(-1,-1,1,1)])

c_4ch_inv = lib.new_cell('4ch_inv')
R(c_4ch_inv, L8_0, [(90.5,-1,92.5,1), (90.5,28,92.5,30)])
c_4ch_inv.add(gdstk.FlexPath([(1,40),(96,40)], 2, ends="flush", simple_path=True, layer=8, datatype=0))  # L8_0
c_4ch_inv.add(gdstk.FlexPath([(10.5,43),(105.5,43)], 2, ends="flush", simple_path=True, layer=8, datatype=0))  # L8_0
c_4ch_inv.add(gdstk.Reference(c_4ch_demux, (0,0)))
c_4ch_inv.add(gdstk.Reference(c_4ch_mux, (93,0)))
c_4ch_inv.add(gdstk.Reference(via_3, (11.5,43)))
c_4ch_inv.add(gdstk.Reference(via_3, (2,40)))
c_4ch_inv.add(gdstk.Reference(via_3, (95,40)))
c_4ch_inv.add(gdstk.Reference(via_3, (104.5,43)))

lib.write_gds('4ch_inv.gds')
